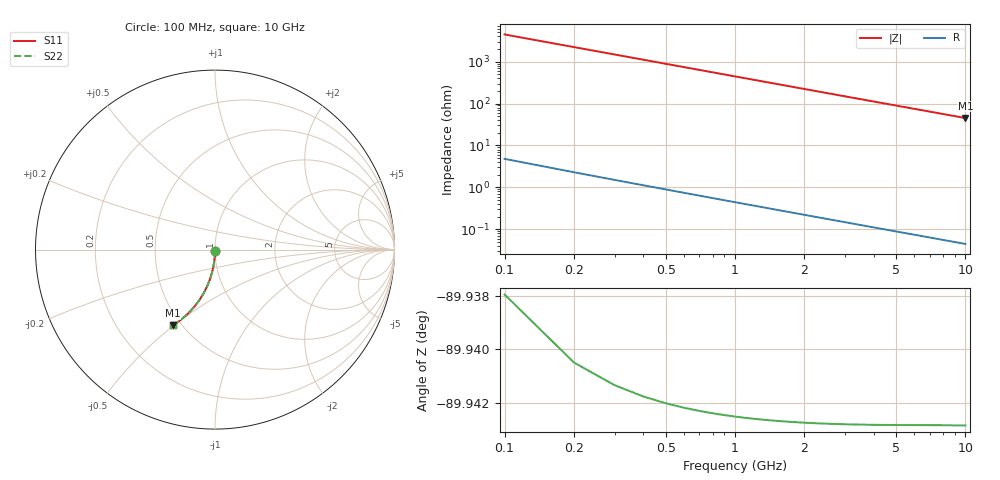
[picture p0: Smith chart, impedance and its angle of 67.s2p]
# Hz S RI R 50.00
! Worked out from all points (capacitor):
!   100 points, 100 MHz to 10 GHz, reference 50 ohm
!   read as one part in shunt: C = 359 fF near 100 MHz
!   lowest |Z| = 45.1 ohm at 10 GHz (marker M1)
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1e8  -3.62e-05 -0.00563  1 -0.00566  1 -0.00566  -3.62e-05 -0.00563
2e8  -0.000137 -0.0113  0.9999 -0.0113  0.9999 -0.0113  -0.000137 -0.0113
3e8  -0.000302 -0.0169  0.9997 -0.017  0.9997 -0.017  -0.000302 -0.0169
4e8  -0.00053 -0.0225  0.9995 -0.0226  0.9995 -0.0226  -0.00053 -0.0225
5e8  -0.000822 -0.0281  0.9992 -0.0282  0.9992 -0.0282  -0.000822 -0.0281
6e8  -0.00118 -0.0337  0.9988 -0.0339  0.9988 -0.0339  -0.00118 -0.0337
7e8  -0.00159 -0.0393  0.9984 -0.0395  0.9984 -0.0395  -0.00159 -0.0393
8e8  -0.00207 -0.0449  0.9979 -0.0451  0.9979 -0.0451  -0.00207 -0.0449
9e8  -0.00262 -0.0505  0.9974 -0.0507  0.9974 -0.0507  -0.00262 -0.0505
1.1e9  -0.00389 -0.0616  0.9961 -0.0619  0.9961 -0.0619  -0.00389 -0.0616
1.4e9  -0.00625 -0.0782  0.9937 -0.0785  0.9937 -0.0785  -0.00625 -0.0782
1.8e9  -0.0102 -0.1  0.9897 -0.1004  0.9897 -0.1004  -0.0102 -0.1
2.1e9  -0.0139 -0.1162  0.9861 -0.1167  0.9861 -0.1167  -0.0139 -0.1162
2.5e9  -0.0195 -0.1374  0.9805 -0.1379  0.9805 -0.1379  -0.0195 -0.1374
2.9e9  -0.0259 -0.1581  0.9741 -0.1588  0.9741 -0.1588  -0.0259 -0.1581
3.4e9  -0.0352 -0.1834  0.9648 -0.1842  0.9648 -0.1842  -0.0352 -0.1834
4.2e9  -0.0525 -0.2221  0.9475 -0.2231  0.9475 -0.2231  -0.0525 -0.2221
5.1e9  -0.0753 -0.2627  0.9247 -0.2639  0.9247 -0.2639  -0.0753 -0.2627
5.9e9  -0.0979 -0.296  0.9021 -0.2974  0.9021 -0.2974  -0.0979 -0.296
6.7e9  -0.1225 -0.3265  0.8775 -0.3282  0.8775 -0.3282  -0.1225 -0.3265
8.4e9  -0.1792 -0.382  0.8208 -0.384  0.8208 -0.384  -0.1792 -0.382
1e10  -0.2356 -0.4227  0.7644 -0.4251  0.7644 -0.4251  -0.2356 -0.4227
